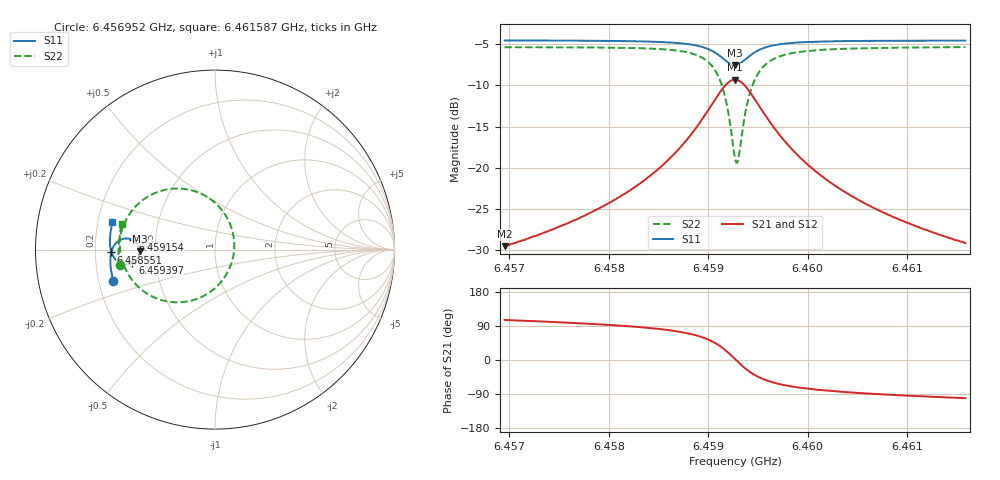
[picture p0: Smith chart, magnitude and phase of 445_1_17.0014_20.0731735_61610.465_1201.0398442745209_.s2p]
#  HZ  S  RI  R  50.00
! Rohde & Schwarz Vector Network Analyzer
! Rohde-Schwarz,ZNB20-2Port,1311601062101988,3.16
! Created: UTC 3/20/2024, 11:12:01 PM
! freq[Hz]  re:S11  im:S11  re:S21  im:S21  re:S12  im:S12  re:S22  im:S22
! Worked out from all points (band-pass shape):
!   401 points, 6.456952 GHz to 6.461587 GHz, reference 50 ohm
!   highest |S21| = -9.31 dB at 6.459269 GHz (marker M1); lowest = -29.5 dB at 6.456952 GHz (marker M2)
!   |S21| within 3 dB of the highest: 6.459038 GHz to 6.459502 GHz (463.7 kHz wide, 0.00718 % of centre)
!   lowest |S11| = -7.5 dB at 6.459269 GHz (marker M3), VSWR 2.45, Z = 20.4 - j0.521 ohm
!   |S11| at or under -10 dB: nowhere
!   |S22| runs from -19.4 to -5.4 dB; largest |S21 - S12| = 0.013
!   S11 on the Smith chart (normalised r, x): 6.456952 GHz: 0.26, -0.14; 6.458551 GHz: 0.27, -0.01; 6.459154 GHz: 0.37, +0.05; 6.459397 GHz: 0.37, -0.07; 6.461587 GHz: 0.26, +0.12
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6.4569522e9  -0.5661 -0.174  -0.00913 0.0321  -0.00728 0.0322  -0.5314 -0.0869
6.4577285e9  -0.5804 -0.1063  -0.00568 0.05  -0.00327 0.0494  -0.5373 0.00327
6.458134e9  -0.5835 -0.0661  -0.000285 0.068  0.00287 0.0666  -0.53 0.0666
6.4585048e9  -0.5798 -0.0222  0.0138 0.098  0.0178 0.0953  -0.5043 0.1483
6.4585511e9  -0.5784 -0.0158  0.0172 0.1033  0.0212 0.1004  -0.4982 0.1614
6.4587597e9  -0.5663 0.0158  0.0431 0.1348  0.0473 0.13  -0.4494 0.2327
6.4589103e9  -0.5451 0.0421  0.0854 0.1648  0.0888 0.1584  -0.3714 0.2966
6.4590609e9  -0.4993 0.0617  0.1766 0.1838  0.1776 0.1765  -0.2047 0.3403
6.4591536e9  -0.4552 0.0517  0.2658 0.153  0.266 0.1471  -0.0397 0.2908
6.4591999e9  -0.4343 0.0331  0.3092 0.1105  0.3103 0.1053  0.0425 0.2152
6.4592695e9  -0.4195 -0.0105  0.3423 0.0146  0.3458 0.0077  0.1072 0.0372
6.459281e9  -0.42 -0.0185  0.3421 -0.00294  0.3458 -0.0105  0.1071 0.00394
6.4593042e9  -0.4234 -0.0339  0.3366 -0.0374  0.3404 -0.0463  0.0962 -0.0613
6.4593506e9  -0.4388 -0.0597  0.3084 -0.0968  0.3106 -0.1086  0.0393 -0.1734
6.4593969e9  -0.4606 -0.0759  0.2669 -0.1375  0.2661 -0.1506  -0.0448 -0.2477
6.4594896e9  -0.5036 -0.0826  0.1828 -0.1687  0.1768 -0.18  -0.212 -0.2939
6.4596402e9  -0.5471 -0.0622  0.0957 -0.1553  0.0873 -0.1613  -0.3784 -0.2453
6.4598024e9  -0.5685 -0.0346  0.0512 -0.1276  0.0436 -0.1304  -0.4583 -0.1739
6.4600457e9  -0.5812 0.000924  0.0221 -0.0964  0.0164 -0.0969  -0.5061 -0.092
6.4604049e9  -0.5856 0.0433  0.00577 -0.0691  0.00197 -0.0687  -0.5277 -0.0109
6.460822e9  -0.5835 0.0849  -0.00141 -0.0513  -0.00421 -0.0506  -0.5317 0.055
6.4615867e9  -0.5712 0.1526  -0.00646 -0.0342  -0.00808 -0.0333  -0.5201 0.1447
